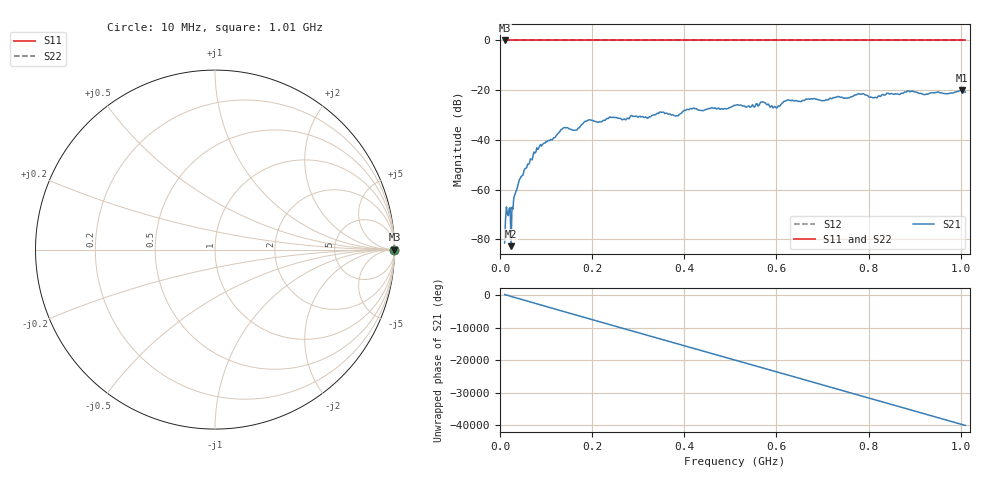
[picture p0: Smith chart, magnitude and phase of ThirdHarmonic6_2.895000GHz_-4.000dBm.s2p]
! 8/17/2025 7:58:52 AM
! C:\ANRITSUVNA\TEMP\TEMP.S2P
! CHANNEL.1
! TR.MEASUREMENT
! RAW.DATA
! RF.CORRECTION.OFF
! AVERAGING.OFF
! IF.BANDWIDTH: 5KHZ
! SWEEPTYPE:  FREQ.SWEEP(Linear)
! Reference Plane Port Info
! PORT:  PORT1  PORT2
! DISTANCE:  0  m  0  m
! TIME:  0  s  0  s
! PHASE.OFFSET:  0  deg.  0  deg.
! LOSS:  0  dB  0  dB
! REF.LOSS:  0  dB  0  dB
! REF.FREQ:  0  Hz  0  Hz
! Power Info
! POWER:  -20  dBm  -20  dBm
! EFF.POWER:  -20  dBm  -20  dBm
! SOURCE.ATTEN:  0  dB  0  dB
! TEST.ATTEN:  0  dB  0  dB
# GHZ S RI R 50.0
! FREQ.GHZ  S11RE  S11IM  S21RE  S21IM  S12RE  S12IM  S22RE  S22IM
!; PortSelection: Port_12
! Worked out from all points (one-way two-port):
!   501 points, 10 MHz to 1.01 GHz, reference 50 ohm
!   highest |S21| = -20.12 dB at 1.002 GHz (marker M1); lowest = -82.7 dB at 24 MHz (marker M2)
!   lowest |S11| = 0.0 dB at 10 MHz (marker M3)
!   |S11| at or under -10 dB: nowhere
!   |S22| runs from 0.0 to 0.0 dB; largest |S21 - S12| = 1.1
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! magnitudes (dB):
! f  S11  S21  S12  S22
! 10 MHz  0.0  -81.4  0.0  0.0
! 18 MHz  0.0  -70.4  0.0  0.0
! 20 MHz  0.0  -67.6  0.0  0.0
! 24 MHz  0.0  -82.7  0.0  0.0
! 28 MHz  0.0  -67.9  0.0  0.0
! 34 MHz  0.0  -61.0  0.0  0.0
! 42 MHz  0.0  -56.0  0.0  0.0
! 84 MHz  0.0  -43.3  0.0  0.0
! 136 MHz  0.0  -35.5  0.0  0.0
! 162 MHz  0.0  -36.1  0.0  0.0
! 178 MHz  0.0  -33.8  0.0  0.0
! 344 MHz  0.0  -29.4  0.0  0.0
! 384 MHz  0.0  -30.3  0.0  0.0
! 416 MHz  0.0  -27.6  0.0  0.0
! 510 MHz  0.0  -26.0  0.0  0.0
! 570 MHz  0.0  -24.7  0.0  0.0
! 596 MHz  0.0  -26.5  0.0  0.0
! 622 MHz  0.0  -24.1  0.0  0.0
! 678 MHz  0.0  -23.5  0.0  0.0
! 844 MHz  0.0  -21.4  0.0  0.0
! 1.002 GHz  0.0  -20.1  0.0  0.0
! 1.01 GHz  0.0  -20.7  0.0  0.0
